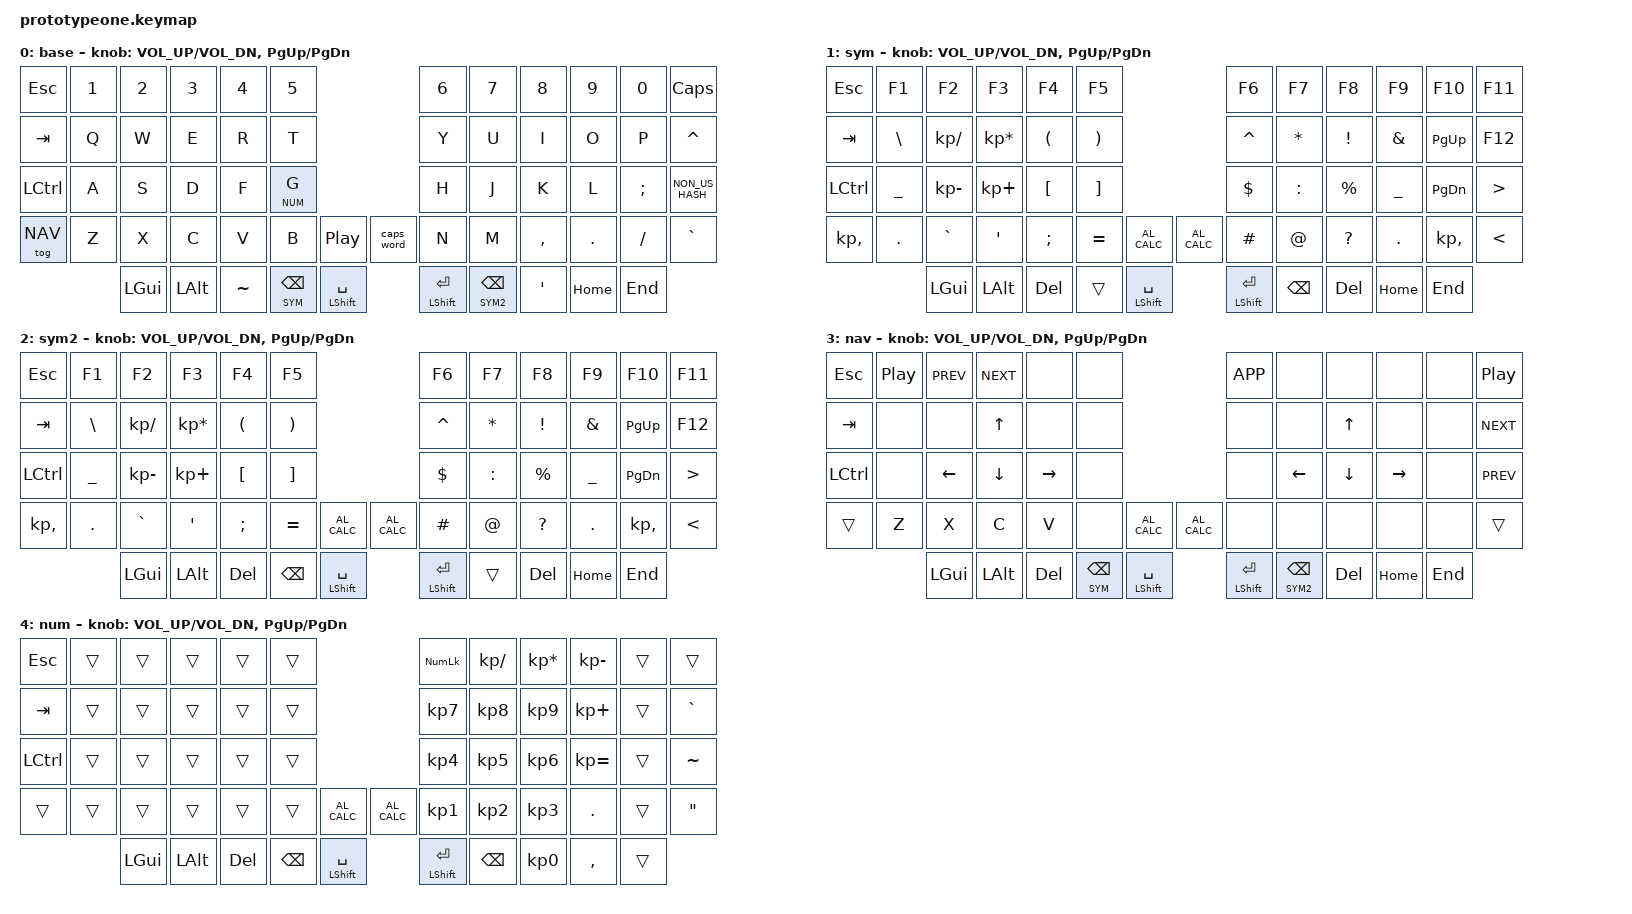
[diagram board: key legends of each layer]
/*
 * Copyright (c) 2020 The ZMK Contributors
 *
 * SPDX-License-Identifier: MIT
 *
 * ZMK port of prototypeone_rev6 QMK keymap (sofle/rev1)
 *
 * LIMITATION — one binding could not be ported:
 *   Position: Layer 0, Row 3, rightmost key (position 49)
 *   QMK:  LCA_T(KC_GRV)  — tap = GRAVE (`), hold = LCTRL+LALT
 *   ZMK:  &mt supports only a single modifier; multi-modifier hold is not possible
 *         with the standard mod-tap behavior.
 *   Replacement used: &kp GRAVE (tap only)
 *   Workaround: define a custom hold-tap with a macro for the LCTRL+LALT hold
 *               if that chord is needed.
 */

#include <behaviors.dtsi>
#include <dt-bindings/zmk/keys.h>
#include <dt-bindings/zmk/bt.h>

#define BASE 0
#define SYM  1
#define SYM2 2
#define NAV  3
#define NUM  4

/ {
    combos {
        compatible = "zmk,combos";
        combo_studio_unlock {
            timeout-ms = <50>;
            key-positions = <42 43>;
            bindings = <&studio_unlock>;
        };
    };

    keymap {
        compatible = "zmk,keymap";

        base {
            display-name = "base";
            // --------------------------------------------------------------------------------------------
            // | ESC  |  1  |  2  |  3  |  4  |  5  |                   |  6  |  7  |  8  |  9  |  0  | CAPS |
            // | TAB  |  Q  |  W  |  E  |  R  |  T  |                   |  Y  |  U  |  I  |  O  |  P  |  ^   |
            // | LCTL |  A  |  S  |  D  |  F  |LT4 G|                   |  H  |  J  |  K  |  L  |  ;  | NUHS |
            // | TG3  |  Z  |  X  |  C  |  V  |  B  | MPLY | CWRD |  N  |  M  |  ,  |  .  |  /  |  `  |
            //              | GUI | ALT |  ~  |LT1 BS|LSFT SP|LSFT EN|LT2 BS|  '  | HOME| END |
            bindings = <
&kp ESCAPE  &kp NUMBER_1  &kp NUMBER_2  &kp NUMBER_3  &kp NUMBER_4  &kp NUMBER_5                              &kp NUMBER_6      &kp NUMBER_7  &kp NUMBER_8  &kp NUMBER_9  &kp NUMBER_0  &kp CAPSLOCK
&kp TAB     &kp Q         &kp W         &kp E         &kp R         &kp T                                     &kp Y             &kp U         &kp I         &kp O         &kp P         &kp CARET
&kp LCTRL   &kp A         &kp S         &kp D         &kp F         &lt NUM G                                 &kp H             &kp J         &kp K         &kp L         &kp SEMICOLON &kp NON_US_HASH
&tog NAV    &kp Z         &kp X         &kp C         &kp V         &kp B         &kp C_PP    &caps_word       &kp N             &kp M         &kp COMMA     &kp PERIOD    &kp SLASH     &kp GRAVE
                          &kp LGUI      &kp LALT      &kp TILDE     &lt SYM BACKSPACE  &mt LSHIFT SPACE  &mt LSHIFT ENTER  &lt SYM2 BACKSPACE  &kp SQT  &kp HOME  &kp END
            >;
            sensor-bindings = <&inc_dec_kp C_VOL_UP C_VOL_DN &inc_dec_kp PG_UP PG_DN>;
        };

        sym {
            display-name = "sym";
            // --------------------------------------------------------------------------------------------
            // | ESC  |  F1 |  F2 |  F3 |  F4 |  F5 |                   |  F6 |  F7 |  F8 |  F9 | F10 | F11 |
            // | TAB  |  \  | KP/ | KP* |  (  |  )  |                   |  ^  |  *  |  !  |  &  | PGUP| F12 |
            // | LCTL |  _  | KP- | KP+ |  [  |  ]  |                   |  $  |  :  |  %  |  _  | PGDN|  >  |
            // | PCMM |  .  |  `  |  '  |  ;  |  =  | CALC | CALC |  #  |  @  |  ?  |  .  | PCMM|  <  |
            //              | GUI | ALT | DEL | TRNS |LSFT SP|LSFT EN| BSPC| DEL | HOME| END |
            bindings = <
&kp ESCAPE  &kp F1         &kp F2       &kp F3        &kp F4               &kp F5                                    &kp F6          &kp F7        &kp F8          &kp F9        &kp F10       &kp F11
&kp TAB     &kp BACKSLASH  &kp KP_SLASH &kp KP_MULTIPLY &kp LEFT_PARENTHESIS &kp RIGHT_PARENTHESIS                  &kp CARET       &kp ASTERISK  &kp EXCLAMATION &kp AMPERSAND &kp PAGE_UP   &kp F12
&kp LCTRL   &kp UNDERSCORE &kp KP_MINUS &kp KP_PLUS   &kp LEFT_BRACKET     &kp RIGHT_BRACKET                        &kp DOLLAR      &kp COLON     &kp PERCENT     &kp UNDERSCORE &kp PAGE_DOWN &kp GREATER_THAN
&kp KP_COMMA &kp PERIOD    &kp GRAVE    &kp SQT       &kp SEMICOLON        &kp EQUAL  &kp C_AL_CALC  &kp C_AL_CALC   &kp HASH        &kp AT_SIGN   &kp QUESTION    &kp PERIOD    &kp KP_COMMA  &kp LESS_THAN
                           &kp LGUI     &kp LALT      &kp DELETE           &trans     &mt LSHIFT SPACE  &mt LSHIFT ENTER  &kp BACKSPACE  &kp DELETE  &kp HOME  &kp END
            >;
            sensor-bindings = <&inc_dec_kp C_VOL_UP C_VOL_DN &inc_dec_kp PG_UP PG_DN>;
        };

        sym2 {
            display-name = "sym2";
            // Same as sym but thumb TRNS and BSPC positions are swapped
            // --------------------------------------------------------------------------------------------
            // | ESC  |  F1 |  F2 |  F3 |  F4 |  F5 |                   |  F6 |  F7 |  F8 |  F9 | F10 | F11 |
            // | TAB  |  \  | KP/ | KP* |  (  |  )  |                   |  ^  |  *  |  !  |  &  | PGUP| F12 |
            // | LCTL |  _  | KP- | KP+ |  [  |  ]  |                   |  $  |  :  |  %  |  _  | PGDN|  >  |
            // | PCMM |  .  |  `  |  '  |  ;  |  =  | CALC | CALC |  #  |  @  |  ?  |  .  | PCMM|  <  |
            //              | GUI | ALT | DEL | BSPC |LSFT SP|LSFT EN| TRNS| DEL | HOME| END |
            bindings = <
&kp ESCAPE  &kp F1         &kp F2       &kp F3        &kp F4               &kp F5                                    &kp F6          &kp F7        &kp F8          &kp F9        &kp F10       &kp F11
&kp TAB     &kp BACKSLASH  &kp KP_SLASH &kp KP_MULTIPLY &kp LEFT_PARENTHESIS &kp RIGHT_PARENTHESIS                  &kp CARET       &kp ASTERISK  &kp EXCLAMATION &kp AMPERSAND &kp PAGE_UP   &kp F12
&kp LCTRL   &kp UNDERSCORE &kp KP_MINUS &kp KP_PLUS   &kp LEFT_BRACKET     &kp RIGHT_BRACKET                        &kp DOLLAR      &kp COLON     &kp PERCENT     &kp UNDERSCORE &kp PAGE_DOWN &kp GREATER_THAN
&kp KP_COMMA &kp PERIOD    &kp GRAVE    &kp SQT       &kp SEMICOLON        &kp EQUAL  &kp C_AL_CALC  &kp C_AL_CALC   &kp HASH        &kp AT_SIGN   &kp QUESTION    &kp PERIOD    &kp KP_COMMA  &kp LESS_THAN
                           &kp LGUI     &kp LALT      &kp DELETE           &kp BACKSPACE  &mt LSHIFT SPACE  &mt LSHIFT ENTER  &trans  &kp DELETE  &kp HOME  &kp END
            >;
            sensor-bindings = <&inc_dec_kp C_VOL_UP C_VOL_DN &inc_dec_kp PG_UP PG_DN>;
        };

        nav {
            display-name = "nav";
            // --------------------------------------------------------------------------------------------
            // | ESC  | MPLY| MPRV| MNXT| --- | --- |                   | APP | --- | --- | --- | --- | MPLY|
            // | TAB  | --- | --- |  ↑  | --- | --- |                   | --- | --- |  ↑  | --- | --- | MNXT|
            // | LCTL | --- |  ←  |  ↓  |  →  | --- |                   | --- |  ←  |  ↓  |  →  | --- | MPRV|
            // | TRNS |  Z  |  X  |  C  |  V  | --- | CALC | CALC | --- | --- | --- | --- | --- | TRNS|
            //              | GUI | ALT | DEL |LT1 BS|LSFT SP|LSFT EN|LT2 BS| DEL | HOME| END |
            bindings = <
&kp ESCAPE  &kp C_PP      &kp C_PREV    &kp C_NEXT    &none         &none                                     &kp K_APP       &none           &none           &none           &none         &kp C_PP
&kp TAB     &none         &none         &kp UP_ARROW  &none         &none                                     &none           &none           &kp UP_ARROW    &none           &none         &kp C_NEXT
&kp LCTRL   &none         &kp LEFT_ARROW &kp DOWN_ARROW &kp RIGHT_ARROW &none                                 &none           &kp LEFT_ARROW  &kp DOWN_ARROW  &kp RIGHT_ARROW &none         &kp C_PREV
&trans      &kp Z         &kp X         &kp C         &kp V         &none         &kp C_AL_CALC  &kp C_AL_CALC &none           &none           &none           &none           &none         &trans
                          &kp LGUI      &kp LALT      &kp DELETE    &lt SYM BACKSPACE  &mt LSHIFT SPACE  &mt LSHIFT ENTER  &lt SYM2 BACKSPACE  &kp DELETE  &kp HOME  &kp END
            >;
            sensor-bindings = <&inc_dec_kp C_VOL_UP C_VOL_DN &inc_dec_kp PG_UP PG_DN>;
        };

        num {
            display-name = "num";
            // --------------------------------------------------------------------------------------------
            // | ESC  | --- | --- | --- | --- | --- |                   | NUM | KP/ | KP* | KP- | --- | --- |
            // | TAB  | --- | --- | --- | --- | --- |                   | KP7 | KP8 | KP9 | KP+ | --- | GRV |
            // | LCTL | --- | --- | --- | --- | --- |                   | KP4 | KP5 | KP6 | KP= | --- |  ~  |
            // | TRNS | --- | --- | --- | --- | --- | CALC | CALC | KP1 | KP2 | KP3 |  .  | --- |  "  |
            //              | GUI | ALT | DEL | BSPC |LSFT SP|LSFT EN| BSPC| KP0 |  ,  | --- |
            bindings = <
&kp ESCAPE  &trans        &trans        &trans        &trans        &trans                                    &kp KP_NUM      &kp KP_SLASH    &kp KP_MULTIPLY &kp KP_MINUS  &trans        &trans
&kp TAB     &trans        &trans        &trans        &trans        &trans                                    &kp KP_N7       &kp KP_N8       &kp KP_N9       &kp KP_PLUS   &trans        &kp GRAVE
&kp LCTRL   &trans        &trans        &trans        &trans        &trans                                    &kp KP_N4       &kp KP_N5       &kp KP_N6       &kp KP_EQUAL  &trans        &kp TILDE
&trans      &trans        &trans        &trans        &trans        &trans        &kp C_AL_CALC  &kp C_AL_CALC &kp KP_N1       &kp KP_N2       &kp KP_N3       &kp PERIOD    &trans        &kp DQT
                          &kp LGUI      &kp LALT      &kp DELETE    &kp BACKSPACE  &mt LSHIFT SPACE  &mt LSHIFT ENTER  &kp BACKSPACE  &kp KP_N0  &kp COMMA  &trans
            >;
            sensor-bindings = <&inc_dec_kp C_VOL_UP C_VOL_DN &inc_dec_kp PG_UP PG_DN>;
        };
    };
};
